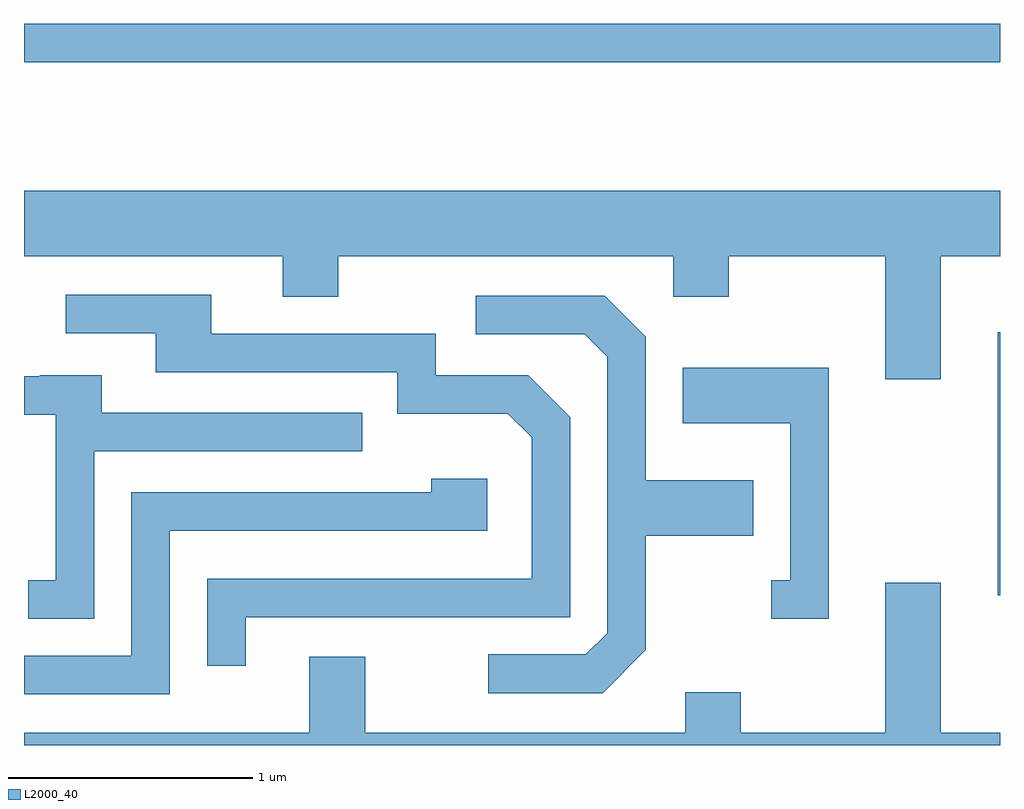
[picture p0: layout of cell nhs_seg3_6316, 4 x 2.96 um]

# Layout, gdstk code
import gdstk
lib = gdstk.Library(unit=1e-6, precision=1e-09)
def R(c, l, rs):  # rectangles x0, y0, x1, y1
    for r in rs: c.add(gdstk.rectangle(r[:2], r[2:], *l))
def P(c, l, *ps):  # polygons
    for p in ps: c.add(gdstk.Polygon(p, *l))
L2000_40 = (2000, 40)

nhs_seg3_6316 = lib.new_cell('nhs_seg3_6316')
R(nhs_seg3_6316, L2000_40, [(373.601,1244.506,373.611,1245.584), (369.611,1246.691,373.611,1246.849)])
P(nhs_seg3_6316, L2000_40, [(373.369,1245.896),(373.611,1245.896),(373.611,1246.164),(369.611,1246.164),(369.611,1245.896),(370.671,1245.896),(370.671,1245.731),(370.899,1245.731),(370.899,1245.896),(372.271,1245.896),(372.271,1245.731),(372.499,1245.731),(372.499,1245.896),(373.141,1245.896),(373.141,1245.391),(373.369,1245.391)],
  [(370.519,1244.416),(371.849,1244.416),(371.849,1245.237),(371.677,1245.409),(371.299,1245.409),(371.299,1245.579),(370.379,1245.579),(370.379,1245.739),(369.783,1245.739),(369.783,1245.581),(370.151,1245.581),(370.151,1245.421),(371.141,1245.421),(371.141,1245.251),(371.594,1245.251),(371.691,1245.154),(371.691,1244.574),(370.361,1244.574),(370.361,1244.218),(370.519,1244.218)],
  [(372.159,1244.284),(372.159,1244.751),(372.599,1244.751),(372.599,1244.979),(372.159,1244.979),(372.159,1245.567),(371.992,1245.734),(371.463,1245.734),(371.463,1245.576),(371.909,1245.576),(372.001,1245.484),(372.001,1244.352),(371.914,1244.264),(371.513,1244.264),(371.513,1244.106),(371.982,1244.106)],
  [(372.909,1245.439),(372.311,1245.439),(372.311,1245.211),(372.751,1245.211),(372.751,1244.569),(372.673,1244.569),(372.673,1244.411),(372.909,1244.411)],
  [(369.899,1245.096),(370.998,1245.096),(370.998,1245.254),(369.929,1245.254),(369.929,1245.409),(369.675,1245.409),(369.675,1245.404),(369.611,1245.404),(369.611,1245.246),(369.741,1245.246),(369.741,1244.569),(369.628,1244.569),(369.628,1244.411),(369.899,1244.411)],
  [(370.209,1244.771),(371.509,1244.771),(371.509,1244.984),(371.281,1244.984),(371.281,1244.929),(370.051,1244.929),(370.051,1244.259),(369.611,1244.259),(369.611,1244.101),(370.209,1244.101)],
  [(373.611,1243.944),(373.369,1243.944),(373.369,1244.559),(373.141,1244.559),(373.141,1243.944),(372.549,1243.944),(372.549,1244.109),(372.321,1244.109),(372.321,1243.944),(371.009,1243.944),(371.009,1244.254),(370.781,1244.254),(370.781,1243.944),(369.611,1243.944),(369.611,1243.892),(373.611,1243.892)])

lib.write_gds('nhs_seg3_6316.gds')
